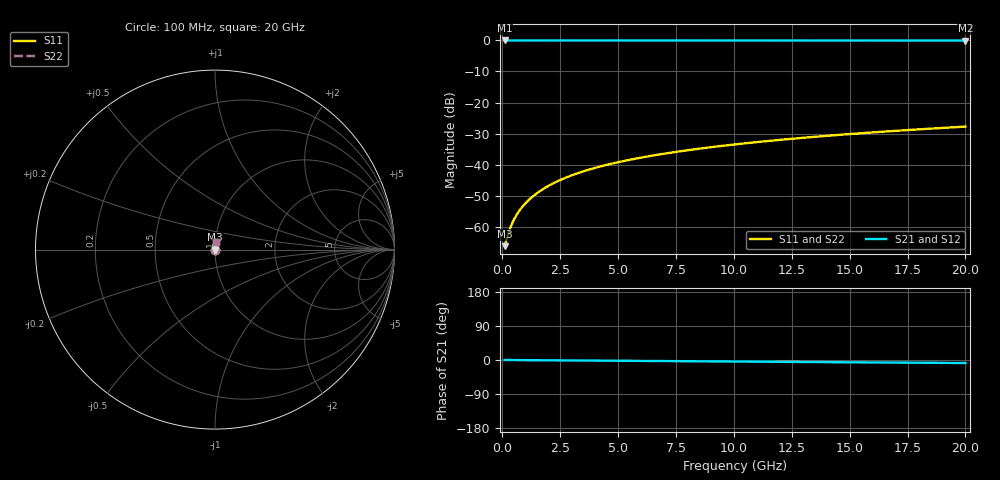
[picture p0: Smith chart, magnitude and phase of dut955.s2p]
! Touchstone file exported from HFSS 2026.1.0
!  File:  C:/ffzhzh/LocalFiles/Ansys_Project_Files/temp_train_TSV_955_1783187361_18472.aedt
!  Generated:  01:51:10 AM Jul  5, 2026
!  Design:  TSV
!  Project:  temp_train_TSV_955_1783187361_18472
! Variables:
!  h_bsmrdl = 2um
!  h_ox = 20um
!  h_rdl = 5um
!  h_sub = 78.81um
!  h_tmrdl = 5um
!  h_tsv = 78.81um
!  h_via = 3um
!  l_bsmrdl = 300um
!  l_sub = 409.72um
!  l_tmrdl = 200um
!  m_sub = 200um
!  pitch = 29.95um
!  r_tsv = 4.86um
!  s_tmrdl = 10um
!  w_bsmrdl = 18um
!  w_sub = 500um
!  w_tmrdl = 12um
!  x_tsv_center1 = 206um
!  x_tsv_center2 = 524um
!  x_tsv_center3 = 736um
!  x_tsv_center4 = 1054um
!  x_tsv_center5 = 1266um
!  x_tsv_center6 = 1584um
# GHz S MA R 50.000000
! Terminal data exported
! Port[1] = TSV1_1_T1
! Port[2] = TSV1_1_T2
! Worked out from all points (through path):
!   200 points, 100 MHz to 20 GHz, reference 50 ohm
!   highest |S21| = 0.00 dB at 100 MHz (marker M1); lowest = 0.0 dB at 20 GHz (marker M2)
!   group delay of S21, straight-line fit = 1.11 ps
!   lowest |S11| = -66.3 dB at 100 MHz (marker M3), VSWR 1.00, Z = 50 + j0.025 ohm
!   |S11| at or under -10 dB: start of sweep to end of sweep
!   |S22| runs from -66.3 to -27.8 dB; largest |S21 - S12| = 3.3e-15
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0.1  0.0004848 31.0  0.9996 -0.0  0.9996 -0.0  0.0004848 31.0
! Gamma 0 0 0 0
! Port Impedance 50 0 50 0
0.2  0.0006551 49.2  0.9996 -0.1  0.9996 -0.1  0.0006551 49.2
0.3  0.0008603 58.8  0.9996 -0.1  0.9996 -0.1  0.0008603 58.8
0.4  0.001076 64.3  0.9995 -0.2  0.9995 -0.2  0.001076 64.3
0.5  0.001293 67.9  0.9995 -0.2  0.9995 -0.2  0.001293 67.9
0.6  0.001511 70.5  0.9995 -0.3  0.9995 -0.3  0.001511 70.5
0.8  0.001946 73.9  0.9995 -0.3  0.9995 -0.3  0.001946 73.9
1.1  0.0026 76.9  0.9994 -0.5  0.9994 -0.5  0.0026 76.9
1.3  0.003036 78.2  0.9994 -0.5  0.9994 -0.5  0.003036 78.2
1.6  0.003691 79.6  0.9994 -0.7  0.9994 -0.7  0.003691 79.6
2.1  0.00478 80.8  0.9993 -0.9  0.9993 -0.9  0.00478 80.8
2.7  0.006077 81.6  0.9992 -1.1  0.9992 -1.1  0.006077 81.6
3.5  0.007783 82.0  0.9991 -1.4  0.9991 -1.4  0.007783 82.0
4.2  0.009253 82.2  0.999 -1.7  0.999 -1.7  0.009253 82.2
5  0.01091 82.2  0.9988 -2.0  0.9988 -2.0  0.01091 82.2
5.9  0.01276 82.2  0.9987 -2.4  0.9987 -2.4  0.01276 82.2
6.8  0.01459 82.1  0.9986 -2.8  0.9986 -2.8  0.01459 82.1
8.3  0.01763 81.9  0.9984 -3.4  0.9984 -3.4  0.01763 81.9
10.1  0.02125 81.6  0.9982 -4.1  0.9982 -4.1  0.02125 81.6
13.4  0.02785 80.9  0.9978 -5.4  0.9978 -5.4  0.02785 80.9
16.7  0.03441 79.9  0.9974 -6.7  0.9974 -6.7  0.03441 79.9
20  0.04091 78.9  0.9969 -8.0  0.9969 -8.0  0.04091 78.9
